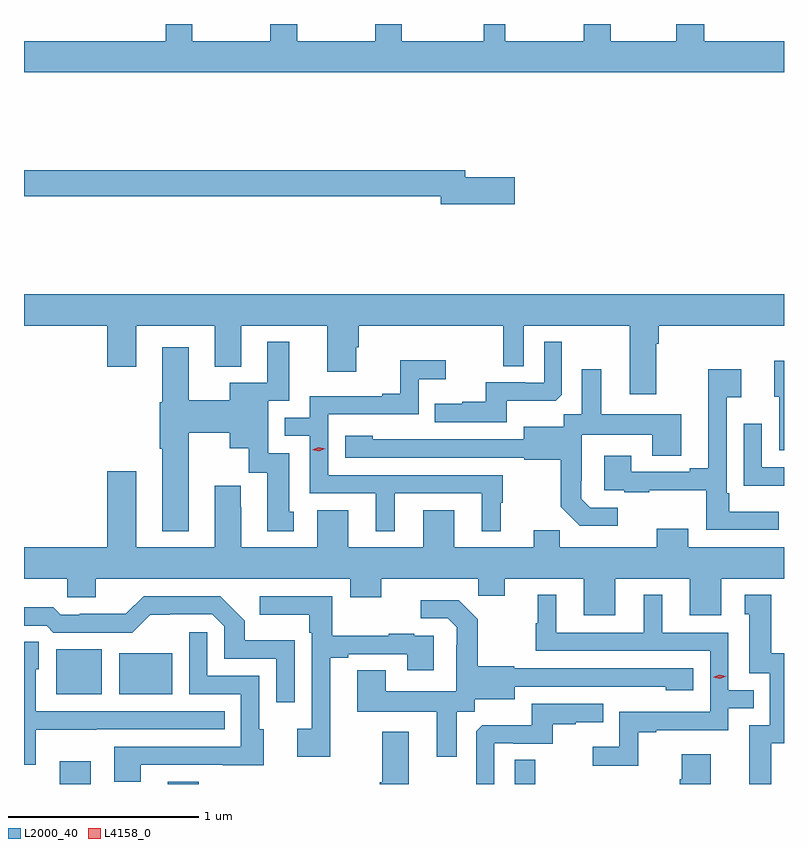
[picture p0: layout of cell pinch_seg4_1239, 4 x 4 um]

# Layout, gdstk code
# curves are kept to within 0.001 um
import gdstk
lib = gdstk.Library(unit=1e-6, precision=1e-09)
def R(c, l, rs):  # rectangles x0, y0, x1, y1
    for r in rs: c.add(gdstk.rectangle(r[:2], r[2:], *l))
def P(c, l, *ps):  # polygons
    for p in ps: c.add(gdstk.Polygon(p, *l))
L2000_40 = (2000, 40)
L4158_0 = (4158, 0)

pinch_seg4_1239 = lib.new_cell('pinch_seg4_1239')
R(pinch_seg4_1239, L2000_40, [(253.469,758.443,253.633,758.563), (254.039,758.443,254.203,758.455), (255.864,758.443,255.973,758.57), (253.451,758.915,253.69,759.151), (253.784,758.915,254.062,759.13)])
P(pinch_seg4_1239, L2000_40, [(257.282,762.352),(256.861,762.352),(256.861,762.443),(256.714,762.443),(256.714,762.352),(256.369,762.352),(256.369,762.443),(256.229,762.443),(256.229,762.352),(255.815,762.352),(255.815,762.443),(255.701,762.443),(255.701,762.352),(255.271,762.352),(255.271,762.443),(255.131,762.443),(255.131,762.352),(254.719,762.352),(254.719,762.443),(254.579,762.443),(254.579,762.352),(254.167,762.352),(254.167,762.443),(254.027,762.443),(254.027,762.352),(253.282,762.352),(253.282,762.188),(257.282,762.188)],
  [(255.865,761.636),(255.604,761.636),(255.604,761.672),(253.282,761.672),(253.282,761.536),(255.476,761.536),(255.476,761.494),(255.865,761.494)],
  [(256.609,760.76),(256.622,760.76),(256.622,760.856),(257.282,760.856),(257.282,761.02),(253.282,761.02),(253.282,760.856),(253.721,760.856),(253.721,760.638),(253.873,760.638),(253.873,760.856),(254.285,760.856),(254.285,760.64),(254.425,760.64),(254.425,760.856),(254.879,760.856),(254.879,760.614),(255.031,760.614),(255.031,760.743),(255.044,760.743),(255.044,760.856),(255.804,760.856),(255.804,760.642),(255.912,760.642),(255.912,760.856),(256.469,760.856),(256.469,760.494),(256.609,760.494)],
  [(255.823,760.46),(256.081,760.46),(256.113,760.491),(256.113,760.771),(256.02,760.771),(256.02,760.554),(255.92,760.554),(255.92,760.557),(255.713,760.557),(255.713,760.456),(255.589,760.456),(255.589,760.444),(255.445,760.444),(255.445,760.347),(255.823,760.347)],
  [(254.149,760.292),(254.366,760.292),(254.366,760.211),(254.465,760.211),(254.465,760.08),(254.561,760.08),(254.561,759.774),(254.701,759.774),(254.701,759.876),(254.677,759.876),(254.677,760.185),(254.568,760.185),(254.568,760.461),(254.677,760.461),(254.677,760.771),(254.561,760.771),(254.561,760.555),(254.366,760.555),(254.366,760.464),(254.149,760.464),(254.149,760.741),(254.009,760.741),(254.009,760.452),(253.997,760.452),(253.997,760.208),(254.009,760.208),(254.009,759.773),(254.149,759.773)],
  [(255.232,759.972),(255.692,759.972),(255.692,759.773),(255.79,759.773),(255.79,759.924),(255.802,759.924),(255.802,760.068),(254.883,760.068),(254.883,760.389),(255.36,760.389),(255.36,760.574),(255.502,760.574),(255.502,760.673),(255.262,760.673),(255.262,760.498),(255.167,760.498),(255.167,760.485),(254.787,760.485),(254.787,760.371),(254.654,760.371),(254.654,760.275),(254.787,760.275),(254.787,759.972),(255.134,759.972),(255.134,759.773),(255.232,759.773)],
  [(257.282,760.67),(257.231,760.67),(257.231,760.482),(257.256,760.482),(257.256,760.2),(257.282,760.2)],
  [(257.254,759.877),(256.993,759.877),(256.993,759.973),(256.98,759.973),(256.98,760.478),(257.056,760.478),(257.056,760.627),(256.883,760.627),(256.883,760.105),(256.787,760.105),(256.787,760.086),(256.477,760.086),(256.477,760.171),(256.337,760.171),(256.337,759.99),(256.441,759.99),(256.441,759.978),(256.573,759.978),(256.573,759.989),(256.872,759.989),(256.872,759.78),(257.254,759.78)],
  [(256.408,759.897),(256.263,759.897),(256.216,759.944),(256.216,760.039),(256.218,760.039),(256.218,760.28),(256.589,760.28),(256.589,760.171),(256.741,760.171),(256.741,760.39),(256.321,760.39),(256.321,760.627),(256.217,760.627),(256.217,760.388),(256.122,760.388),(256.122,760.324),(255.911,760.324),(255.911,760.257),(255.117,760.258),(255.117,760.276),(254.973,760.276),(254.973,760.161),(255.915,760.161),(255.915,760.149),(256.107,760.149),(256.107,759.903),(256.207,759.803),(256.408,759.803)],
  [(257.282,760.11),(257.166,760.11),(257.166,760.339),(257.07,760.339),(257.07,760.013),(257.282,760.013)],
  [(256.393,759.524),(256.787,759.524),(256.787,759.33),(256.951,759.33),(256.951,759.524),(257.282,759.524),(257.282,759.688),(256.777,759.688),(256.777,759.787),(256.613,759.787),(256.613,759.688),(256.103,759.688),(256.103,759.779),(255.965,759.779),(255.965,759.688),(255.547,759.688),(255.547,759.883),(255.383,759.883),(255.383,759.688),(254.989,759.688),(254.989,759.883),(254.825,759.883),(254.825,759.688),(254.425,759.688),(254.425,759.899),(254.422,759.899),(254.422,760.012),(254.285,760.012),(254.285,759.688),(253.873,759.688),(253.873,760.09),(253.721,760.09),(253.721,759.688),(253.282,759.688),(253.282,759.524),(253.51,759.524),(253.51,759.426),(253.66,759.426),(253.66,759.524),(254.999,759.524),(254.999,759.425),(255.163,759.425),(255.163,759.524),(255.673,759.524),(255.673,759.434),(255.811,759.434),(255.811,759.524),(256.229,759.524),(256.229,759.33),(256.393,759.33)],
  [(257.215,758.657),(257.282,758.657),(257.282,759.131),(257.215,759.131),(257.215,759.439),(257.075,759.439),(257.075,759.336),(257.099,759.336),(257.099,759.027),(257.208,759.027),(257.208,758.751),(257.099,758.751),(257.099,758.443),(257.215,758.443)],
  [(256.515,758.715),(256.609,758.715),(256.609,758.727),(256.989,758.727),(256.989,758.841),(257.122,758.841),(257.122,758.937),(256.989,758.937),(256.989,759.24),(256.642,759.24),(256.642,759.439),(256.544,759.439),(256.544,759.24),(256.084,759.24),(256.084,759.439),(255.986,759.439),(255.986,759.288),(255.975,759.288),(255.975,759.144),(256.893,759.144),(256.893,758.823),(256.416,758.823),(256.416,758.638),(256.275,758.638),(256.275,758.54),(256.515,758.54)],
  [(254.893,759.108),(254.989,759.108),(254.989,759.126),(255.299,759.126),(255.299,759.042),(255.439,759.042),(255.439,759.222),(255.335,759.222),(255.335,759.235),(255.203,759.235),(255.203,759.224),(254.905,759.224),(254.905,759.432),(254.523,759.432),(254.523,759.335),(254.784,759.335),(254.784,759.239),(254.796,759.239),(254.796,758.734),(254.721,758.734),(254.721,758.586),(254.893,758.586)],
  [(254.706,759.199),(254.445,759.199),(254.445,759.302),(254.314,759.432),(253.911,759.432),(253.817,759.338),(253.576,759.338),(253.576,759.333),(253.476,759.333),(253.437,759.373),(253.282,759.373),(253.282,759.276),(253.401,759.276),(253.437,759.24),(253.851,759.24),(253.946,759.335),(254.274,759.336),(254.337,759.273),(254.337,759.102),(254.61,759.102),(254.61,758.874),(254.706,758.874)],
  [(255.559,758.824),(255.654,758.824),(255.654,758.888),(255.865,758.888),(255.865,758.955),(256.659,758.954),(256.659,758.936),(256.804,758.936),(256.804,759.051),(255.861,759.051),(255.861,759.064),(255.669,759.064),(255.669,759.309),(255.569,759.409),(255.369,759.409),(255.369,759.315),(255.513,759.315),(255.56,759.268),(255.56,759.173),(255.558,759.173),(255.558,758.932),(255.187,758.932),(255.187,759.041),(255.035,759.041),(255.035,758.822),(255.455,758.822),(255.455,758.586),(255.559,758.586)],
  [(253.897,758.544),(254.327,758.544),(254.327,758.543),(254.545,758.543),(254.545,758.73),(254.52,758.73),(254.52,759.012),(254.247,759.012),(254.247,759.241),(254.151,759.241),(254.151,758.916),(254.424,758.916),(254.424,758.64),(253.757,758.64),(253.757,758.454),(253.897,758.454)],
  [(253.344,758.729),(253.661,758.729),(253.661,758.73),(254.339,758.73),(254.339,758.826),(253.344,758.826),(253.344,759.048),(253.36,759.048),(253.36,759.191),(253.282,759.191),(253.282,758.544),(253.344,758.544)],
  [(255.756,758.658),(255.856,758.658),(255.856,758.655),(256.064,758.655),(256.064,758.757),(256.187,758.757),(256.187,758.768),(256.331,758.768),(256.331,758.865),(255.954,758.865),(255.954,758.753),(255.695,758.753),(255.663,758.721),(255.663,758.443),(255.756,758.443)],
  [(255.307,758.719),(255.167,758.719),(255.167,758.452),(255.155,758.452),(255.155,758.443),(255.307,758.443)],
  [(256.897,758.599),(256.745,758.599),(256.745,758.469),(256.733,758.469),(256.733,758.443),(256.897,758.443)])
P(pinch_seg4_1239, L4158_0, [(254.834,760.195),(254.798,760.203),(254.798,760.203),(254.798,760.203),(254.832,760.215),(254.867,760.208),(254.867,760.208),(254.867,760.208)],
  [(256.944,758.997),(256.909,759.004),(256.908,759.004),(256.909,759.005),(256.942,759.017),(256.977,759.009),(256.978,759.009),(256.977,759.009)])

lib.write_gds('pinch_seg4_1239.gds')
